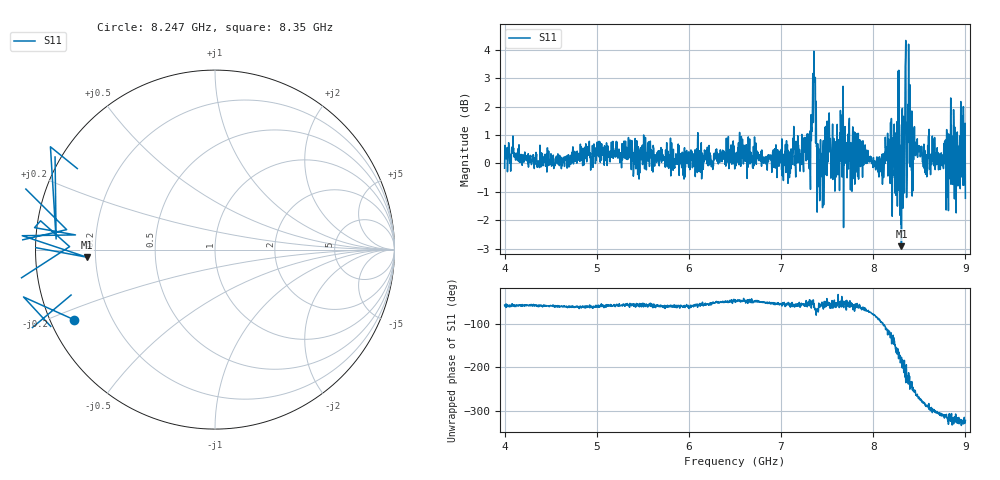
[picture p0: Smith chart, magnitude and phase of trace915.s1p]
! Created with skrf 1.8.0 (http://scikit-rf.org).
# Hz S RI R 50.0
!freq ReS11 ImS11
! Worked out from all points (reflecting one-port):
!   1601 points, 4 GHz to 9 GHz, reference 50 ohm
!   lowest |S11| = -2.9 dB at 8.306 GHz (marker M1), VSWR 6.02, Z = 8.32 - j1.44 ohm
!   phase of S11 starts at -57 deg and turns -265 deg over the sweep
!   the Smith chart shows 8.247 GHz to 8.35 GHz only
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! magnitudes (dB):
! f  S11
! 4 GHz  -0.2
! 4.625 GHz  -0.1
! 5.25 GHz  0.0
! 5.875 GHz  0.2
! 6.5 GHz  0.2
! 7.125 GHz  0.4
! 7.294 GHz  0.5
! 7.356 GHz  4.0
! 7.381 GHz  2.2
! 7.4 GHz  0.3
! 7.428 GHz  0.8
! 7.509 GHz  0.0
! 7.578 GHz  0.7
! 7.65 GHz  1.3
! 7.75 GHz  0.4
! 8.156 GHz  1.1
! 8.228 GHz  1.4
! 8.262 GHz  -1.5
! 8.306 GHz  -2.9
! 8.316 GHz  1.9
! 8.334 GHz  0.7
! 8.347 GHz  3.4
! 8.375 GHz  1.4
! 8.425 GHz  -0.2
! 8.562 GHz  -0.3
! 8.919 GHz  -0.8
! 8.972 GHz  0.8
! 9 GHz  -1.2
